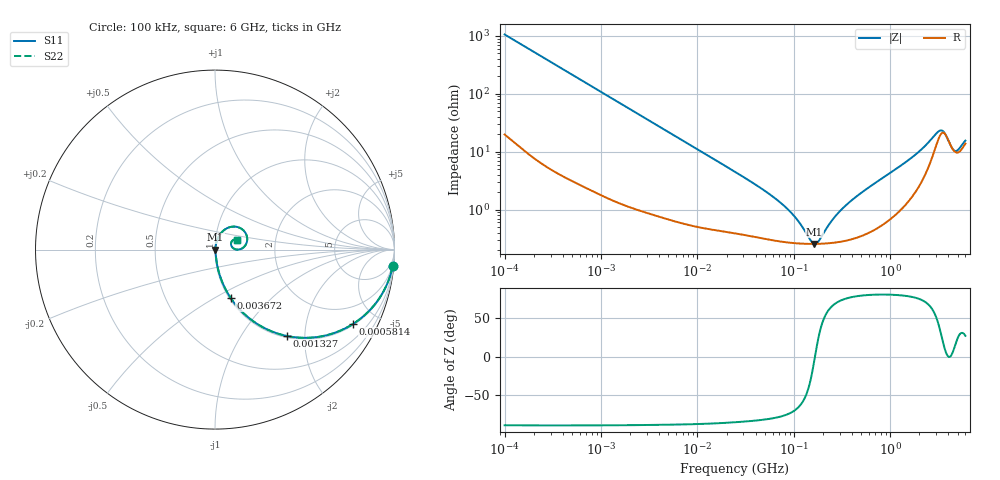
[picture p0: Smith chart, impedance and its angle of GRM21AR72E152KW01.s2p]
!Murata Part Number: GRM21AR72E152KW01
!These Parameters are Measured in Series Mode Connection
!Data Generated on Mar 30, 2021
!  o--ll--o
!Port1  Port2
!  o------o
!Operation Temp=25[degC], DC Bias Voltage=0[V]
!Freq. Start=100[kHz] Stop=6[GHz] 401[Steps]
# Hz S RI R 50
!Freq.(Hz) S11(Real) S11(Imag) S21(Real) S21(Imag) S12(Real) S12(Imag) S22(Real) S22(Imag)
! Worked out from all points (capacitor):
!   401 points, 100 kHz to 6 GHz, reference 50 ohm
!   read as one part in series: C = 1.5 nF near 105.7 kHz
!   lowest |Z| = 256 mohm at 163.4 MHz (marker M1)
!   series resonance near 165.2 MHz, so ESL is about 620 pH
!   S11 on the Smith chart (normalised r, x): 100 kHz: 1, -21; 581.4 kHz: 1.05, -3.69; 1.327 MHz: 1.03, -1.63; 3.672 MHz: 1.02, -0.59; 6 GHz: 1.28, +0.14
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100000  0.9894 -0.0933  0.0106 0.0933  0.0106 0.0933  0.9894 -0.0933
284397  0.9308 -0.247  0.0692 0.247  0.0692 0.247  0.9308 -0.247
581439  0.7696 -0.4137  0.2304 0.4137  0.2304 0.4137  0.7696 -0.4137
631452  0.7398 -0.4313  0.2602 0.4313  0.2602 0.4313  0.7398 -0.4313
1326984  0.4001 -0.4812  0.5999 0.4812  0.5999 0.4812  0.4001 -0.4812
2177120  0.2036 -0.3924  0.7964 0.3924  0.7964 0.3924  0.2036 -0.3924
3671508  0.0869 -0.2688  0.9131 0.2688  0.9131 0.2688  0.0869 -0.2688
3987316  0.0756 -0.2509  0.9244 0.2509  0.9244 0.2509  0.0756 -0.2509
2.517799e7  0.00571 -0.0431  0.9943 0.0431  0.9943 0.0431  0.00571 -0.0431
7.993314e7  0.00286 -0.0111  0.9971 0.0111  0.9971 0.0111  0.00286 -0.0111
1.081748e8  0.00264 -0.00612  0.9974 0.00612  0.9974 0.00612  0.00264 -0.00612
1.546735e8  0.00255 -0.000928  0.9975 0.000928  0.9975 0.000928  0.00255 -0.000928
1.634206e8  0.00255 -0.000152  0.9975 0.000152  0.9975 0.000152  0.00255 -0.000152
1.824266e8  0.00256 0.0014  0.9974 -0.0014  0.9974 -0.0014  0.00256 0.0014
2.468808e8  0.00268 0.00583  0.9973 -0.00583  0.9973 -0.00583  0.00268 0.00583
3.341077e8  0.00298 0.0108  0.997 -0.0108  0.997 -0.0108  0.00298 0.0108
9.76689e8  0.00827 0.041  0.9917 -0.041  0.9917 -0.041  0.00827 0.041
2.168564e9  0.0428 0.1021  0.9572 -0.1021  0.9572 -0.1021  0.0428 0.1021
3.187187e9  0.1601 0.1058  0.8399 -0.1058  0.8399 -0.1058  0.1601 0.1058
3.557862e9  0.1779 0.0427  0.8221 -0.0427  0.8221 -0.0427  0.1779 0.0427
4.68428e9  0.091 0.0215  0.909 -0.0215  0.909 -0.0215  0.091 0.0215
6e9  0.1246 0.055  0.8754 -0.055  0.8754 -0.055  0.1246 0.055
